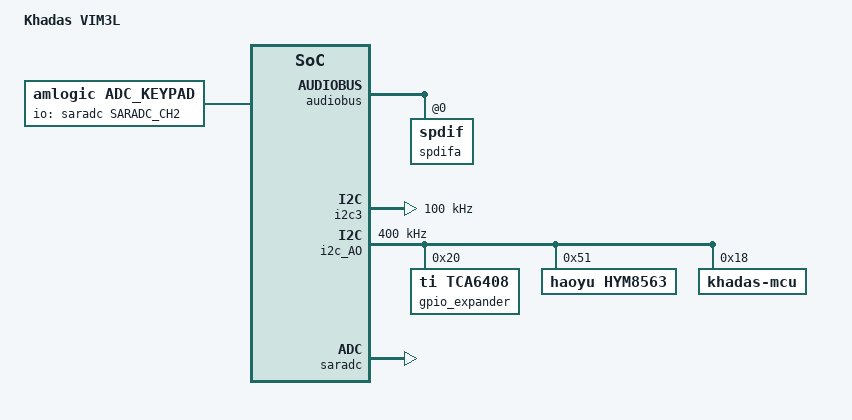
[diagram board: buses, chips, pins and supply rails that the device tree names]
#include "sm1_s905x3_2g_1gbit.dts"

/{
	model = "Khadas VIM3L";
	amlogic-dt-id = "sm1_kvim3l";
	coreelec-dt-id = "sm1_s905d3_khadas_vim3l";

	/delete-node/ memory@00000000;

	gpioleds {
		status = "okay";

		sys_led {
			gpios=<&gpio_ao GPIOAO_4 GPIO_ACTIVE_HIGH>;
			linux,default-trigger="default-on";
		};

		red_led {
			label = "red_red";
			gpios = <&gpio_expander 5 GPIO_ACTIVE_HIGH>;
			default-state ="off";
			linux,default-trigger="none";
		};
	};

	cvbsout {
		/delete-property/ clk_path;
	};

	gpio_keypad {
		key-gpios = <&gpio_ao GPIOAO_7 GPIO_ACTIVE_HIGH>;
	};

	adc_keypad {
		compatible = "amlogic, adc_keypad";
		status = "okay";
		key_name = "home";
		key_num = <1>;
		io-channels = <&saradc SARADC_CH2>;
		io-channel-names = "key-chan-2";
		key_chan = <SARADC_CH2 SARADC_CH2 SARADC_CH2>;
		key_code = <102>;
		key_val = <108>; //val=voltage/1800mV*1023
		key_tolerance = <40>;
	};

	efuse: efuse {
		compatible = "amlogic, efuse";
		read_cmd = <0x82000030>;
		write_cmd = <0x82000031>;
		get_max_cmd = <0x82000033>;
		key = <&efusekey>;
		status = "okay";
	};

	/delete-node/ efusekey;
	efusekey: efusekey {
		keynum = <1>;
		key0 = <&key_0>;
		key_0:key_0{
			keyname = "mac";
			offset = <0>;
			size = <6>;
		};
	};

	amlvecm {
		interrupts = <0 56 1>;
		interrupt-names = "vsync2";
	};

	meson-ir {
		status = "disabled";
	};

	meson-remote {
		status = "okay";
		map = <&custom_maps>;
	};

	custom_maps:custom_maps {
		mapnum = <1>;
		map0 = <&map_0>;
		map_0: map_0{
			mapname = "khadas-ir";
			customcode = <0xff00>;
			release_delay = <80>;
			fn_key_scancode = <0x5b>;
			cursor_left_scancode = <0x0e>;
			cursor_right_scancode = <0x1a>;
			cursor_up_scancode = <0x03>;
			cursor_down_scancode = <0x02>;
			cursor_ok_scancode = <0x07>;
			size = <12>;
			keymap = <REMOTE_KEY(0x14,116)
				REMOTE_KEY(0x13,46)
				REMOTE_KEY(0x03,103)
				REMOTE_KEY(0x02,108)
				REMOTE_KEY(0x0e,105)
				REMOTE_KEY(0x1a,106)
				REMOTE_KEY(0x07,28)
				REMOTE_KEY(0x58,114)
				REMOTE_KEY(0x5c,90)
				REMOTE_KEY(0x0b,115)
				REMOTE_KEY(0x01,1)
				REMOTE_KEY(0x48,172)>;
		};
	};

	/delete-node/ rtc;
};

&audiobus {
	spdifa: spdif@0 {
		pinctrl-names = "spdif_pins", "spdif_pins_mute";
		pinctrl-0 = <&spdifout>;
		pinctrl-1 = <&spdifout_a_mute>;
	};
};

&pinctrl_periphs {
	/delete-node/ spdifout;
	/delete-node/ spdifout_a_mute;
};

&pinctrl_aobus {
	spdifout: spdifout {
		mux {
			groups = "spdif_out_ao";
			function = "spdif_out_ao";
		};
	};

	spdifout_a_mute: spdifout_a_mute {
		mux {
			groups = "GPIOAO_10";
			function = "gpio_aobus";
		};
	};
};

&i2c0 {
	/delete-property/ pinctrl-names;
	/delete-property/ pinctrl-0;
	/delete-property/ clock-frequency;
};

&i2c2 {
	status = "disabled";
	/delete-property/ pinctrl-names;
	/delete-property/ pinctrl-0;
	/delete-property/ clock-frequency;
};

&i2c3 {
	status = "okay";
	pinctrl-names="default";
	pinctrl-0=<&i2c3_master_pins2>;
	clock-frequency = <100000>;
};

&i2c_AO {
	status = "okay";
	pinctrl-names="default";
	pinctrl-0=<&ao_i2c_master_pins1>;
	clock-frequency = <400000>;

	gpio_expander: gpio-controller@20 {
		compatible = "ti,tca6408";
		reg = <0x20>;
		gpio-controller;
		#gpio-cells = <2>;
		status = "okay";
	};

	hym8563: hym8563@51 {
		compatible = "haoyu,hym8563";
		reg = <0x51>;
		#clock-cells = <0>;
	};

	khadas-mcu {
		compatible = "khadas-mcu";
		reg = <0x18>;
		fan,trig_temp_level0 = <50>;
		fan,trig_temp_level1 = <60>;
		fan,trig_temp_level2 = <70>;
		hwver = "VIM3.V11";
	};
};

&pwm_ef {
	pinctrl-names = "default";
	pinctrl-0 = <&pwm_f_pins2>;
};

&usb2_phy_v2 {
	gpio-vbus-power = "GPIOA_6";
	gpios = <&gpio GPIOA_6 GPIO_ACTIVE_HIGH>;
};

&usb3_phy_v2 {
	/delete-property/ gpio-vbus-power;
	/delete-property/ gpios;
	otg = <1>;
};

&pcie_A {
	reset-gpio = <&gpio GPIOA_8 GPIO_ACTIVE_HIGH>;
	status = "disabled";
};

&saradc {
	status = "okay";
};
